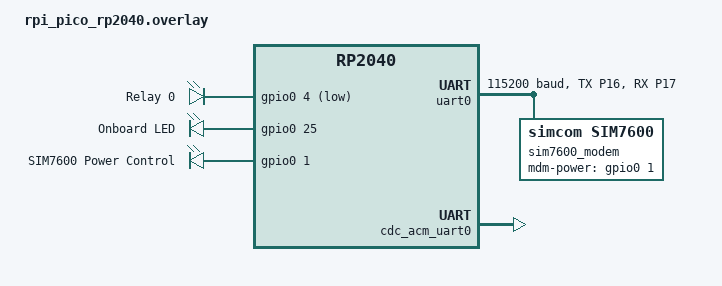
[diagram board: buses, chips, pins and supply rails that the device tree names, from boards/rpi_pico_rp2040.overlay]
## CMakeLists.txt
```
# SPDX-License-Identifier: Apache-2.0

cmake_minimum_required(VERSION 3.20.0)

find_package(Zephyr REQUIRED HINTS $ENV{ZEPHYR_BASE})
project(hello_world)

target_sources(app PRIVATE src/main.c)
target_sources(app PRIVATE drivers/sim7600/modem_cellular_sim7600.c)
```

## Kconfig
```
mainmenu "SIM7600 PPP MQTT demo"

config APP_MQTT_BROKER_HOSTNAME
	string "MQTT broker hostname"
	default "broker.hivemq.com"

config APP_MQTT_BROKER_PORT
	int "MQTT broker port"
	default 1883
	range 1 65535

config APP_MQTT_CLIENT_ID
	string "MQTT client identifier"
	default "pico-sim7600-demo"

config APP_MQTT_TOPIC
	string "MQTT publish topic"
	default "zephyr/pico/sim7600/test"

source "Kconfig.zephyr"
```

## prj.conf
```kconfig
CONFIG_DEBUG_OPTIMIZATIONS=y
CONFIG_DEBUG_THREAD_INFO=y
CONFIG_STACK_USAGE=y
CONFIG_BUILD_OUTPUT_HEX=y
CONFIG_BUILD_OUTPUT_META=y
CONFIG_OUTPUT_SYMBOLS=y
CONFIG_OUTPUT_STAT=y
CONFIG_OUTPUT_DISASSEMBLY=y
CONFIG_OUTPUT_PRINT_MEMORY_USAGE=y

CONFIG_MAIN_STACK_SIZE=4096
# CONFIG_HEAP_MEM_POOL_SIZE=8192

CONFIG_USB_DEVICE_STACK_NEXT=y
CONFIG_CDC_ACM_SERIAL_INITIALIZE_AT_BOOT=y
CONFIG_UART_LINE_CTRL=y
CONFIG_GPIO=y
CONFIG_SERIAL=y
CONFIG_UART_INTERRUPT_DRIVEN=y
CONFIG_UART_USE_RUNTIME_CONFIGURE=y

CONFIG_LOG=y
# CONFIG_LOG_DEFAULT_LEVEL=3

CONFIG_NETWORKING=y
CONFIG_NET_NATIVE=y
CONFIG_NET_IPV4=y
# CONFIG_NET_TCP=y
# CONFIG_NET_SOCKETS=y
# CONFIG_NET_CONTEXT_RCVTIMEO=y
# CONFIG_NET_MGMT=y
# CONFIG_NET_MGMT_EVENT=y
# CONFIG_NET_CONNECTION_MANAGER=y
# CONFIG_DNS_RESOLVER=y

CONFIG_NET_L2_PPP=y
# CONFIG_NET_L2_PPP_OPTION_MRU=y
# CONFIG_NET_L2_PPP_OPTION_DNS_USE=y
# CONFIG_NET_L2_PPP_PAP=y
# CONFIG_NET_L2_PPP_MGMT=y

CONFIG_MODEM=y
CONFIG_PM_DEVICE=y
CONFIG_MODEM_CELLULAR=y
CONFIG_MODEM_CELLULAR_APN="onomondo"

# CONFIG_MQTT_LIB=y
CONFIG_TEST_RANDOM_GENERATOR=y
CONFIG_TIMER_RANDOM_GENERATOR=y

# CONFIG_REBOOT=y
```

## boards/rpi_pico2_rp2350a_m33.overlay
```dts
/*
 * Raspberry Pi Pico 2 can reuse the same app wiring as the Pico board.
 */

#include "rpi_pico_rp2040.overlay"
```

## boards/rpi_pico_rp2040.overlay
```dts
/ {
	chosen {
		zephyr,console = &cdc_acm_uart0;
		zephyr,shell-uart = &cdc_acm_uart0;
	};

	aliases {
		relay = &relay_0;
		led = &relay_1;
		modem = &sim7600_modem;
		modem-uart = &uart0;
		sim7600-power = &sim7600_power;
	};

	relays {
	compatible = "gpio-leds";

	relay_0: relay_0 {
		label = "Relay 0";
		gpios = <&gpio0 4 GPIO_ACTIVE_LOW>;
	};

	relay_1: relay_1 {
		label = "Onboard LED";
		gpios = <&gpio0 25 GPIO_ACTIVE_HIGH>;
	};
	};

	sim7600_power: sim7600_power {
		compatible = "gpio-leds";
		power_ctrl: power_ctrl {
			gpios = <&gpio0 1 GPIO_ACTIVE_HIGH>;
			label = "SIM7600 Power Control";
		};
	};
};

&pinctrl {
	uart0_default: uart0_default {
		group1 {
			pinmux = <UART0_TX_P16>;
		};

		group2 {
			pinmux = <UART0_RX_P17>;
			input-enable;
		};
	};

	uart1_default: uart1_default {
		group1 {
			pinmux = <UART1_TX_P8>;
		};

		group2 {
			pinmux = <UART1_RX_P9>;
			input-enable;
		};
	};
};

&uart0 {
	pinctrl-0 = <&uart0_default>;
	pinctrl-names = "default";
	status = "okay";
	current-speed = <115200>;

	sim7600_modem: modem {
		status = "okay";
		compatible = "simcom,sim7600";
		mdm-power-gpios = <&gpio0 1 GPIO_ACTIVE_HIGH>;
	};
};

&uart1 {
	pinctrl-0 = <&uart1_default>;
	pinctrl-names = "default";
	status = "disabled";
	current-speed = <9600>;
};

&zephyr_udc0 {
	cdc_acm_uart0: cdc_acm_uart0 {
		compatible = "zephyr,cdc-acm-uart";
	};
};
```

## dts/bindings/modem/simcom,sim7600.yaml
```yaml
# Copyright (C) 2025 Olivier Lalonde
# SPDX-License-Identifier: Apache-2.0

description: Simcom SIM7600 modem

compatible: "simcom,sim7600"

include: zephyr,cellular-modem-device.yaml

properties:
  mdm-power-gpios:
    type: phandle-array
    required: true
```

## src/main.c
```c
#include <errno.h>
#include <stdbool.h>
#include <string.h>

#include <zephyr/device.h>
#include <zephyr/drivers/cellular.h>
#include <zephyr/drivers/gpio.h>
#include <zephyr/drivers/uart.h>
#include <zephyr/kernel.h>
#include <zephyr/logging/log.h>
#include <zephyr/pm/device.h>

LOG_MODULE_REGISTER(sim7600_modem_test, LOG_LEVEL_INF);

#define APP_EVENT_MODEM_INFO BIT(0)
#define APP_EVENT_REG_CHANGED BIT(1)

#define MODEM_BOOT_DELAY K_SECONDS(30)
#define MODEM_SETTLE_DELAY K_SECONDS(8)
#define MODEM_POLL_INTERVAL K_SECONDS(10)
#define CONSOLE_READY_TIMEOUT_MS 15000
#define CONSOLE_READY_POLL_MS 100

static const struct device *const modem = DEVICE_DT_GET(DT_ALIAS(modem));
static const struct device *const console_dev = DEVICE_DT_GET(DT_CHOSEN(zephyr_console));
static const struct gpio_dt_spec modem_power_gpio =
	GPIO_DT_SPEC_GET(DT_NODELABEL(power_ctrl), gpios);

K_EVENT_DEFINE(app_events);

static void wait_for_console_ready(void)
{
	uint32_t dtr = 0;
	int64_t deadline;
	int ret;

	if (!device_is_ready(console_dev)) {
		return;
	}

	deadline = k_uptime_get() + CONSOLE_READY_TIMEOUT_MS;

	while (k_uptime_get() < deadline) {
		ret = uart_line_ctrl_get(console_dev, UART_LINE_CTRL_DTR, &dtr);
		if (ret == 0 && dtr != 0U) {
			break;
		}

		k_sleep(K_MSEC(CONSOLE_READY_POLL_MS));
	}

	k_sleep(K_MSEC(250));
}

static const char *registration_status_to_string(enum cellular_registration_status status)
{
	switch (status) {
	case CELLULAR_REGISTRATION_NOT_REGISTERED:
		return "not registered";
	case CELLULAR_REGISTRATION_REGISTERED_HOME:
		return "registered home";
	case CELLULAR_REGISTRATION_SEARCHING:
		return "searching";
	case CELLULAR_REGISTRATION_DENIED:
		return "denied";
	case CELLULAR_REGISTRATION_UNKNOWN:
		return "unknown";
	case CELLULAR_REGISTRATION_REGISTERED_ROAMING:
		return "registered roaming";
	case CELLULAR_REGISTRATION_SMS_ONLY_HOME:
		return "sms only home";
	case CELLULAR_REGISTRATION_SMS_ONLY_ROAMING:
		return "sms only roaming";
	case CELLULAR_REGISTRATION_EMERGENCY_ONLY:
		return "emergency only";
	case CELLULAR_REGISTRATION_CSFB_NOT_PREFERRED_HOME:
		return "csfb not preferred home";
	case CELLULAR_REGISTRATION_CSFB_NOT_PREFERRED_ROAMING:
		return "csfb not preferred roaming";
	case CELLULAR_REGISTRATION_RLOS:
		return "rlos";
	default:
		return "unhandled";
	}
}

static void log_modem_info_field(enum cellular_modem_info_type field, const char *label)
{
	char value[64];
	int ret;

	ret = cellular_get_modem_info(modem, field, value, sizeof(value));
	if (ret == 0) {
		LOG_INF("%s: %s", label, value);
	} else {
		LOG_INF("%s unavailable yet (%d)", label, ret);
	}
}

static void log_signal_info(void)
{
	int16_t rssi;
	int ret;

	ret = cellular_get_signal(modem, CELLULAR_SIGNAL_RSSI, &rssi);
	if (ret == 0) {
		LOG_INF("RSSI: %d dBm", rssi);
	} else {
		LOG_INF("RSSI unavailable yet (%d)", ret);
	}
}

static void log_registration_status(void)
{
	enum cellular_registration_status status;
	int ret;

	ret = cellular_get_registration_status(modem, CELLULAR_ACCESS_TECHNOLOGY_E_UTRAN,
					       &status);
	if (ret == 0) {
		LOG_INF("Registration status: %s (%d)", registration_status_to_string(status), status);
	} else {
		LOG_INF("Registration status unavailable yet (%d)", ret);
	}
}

static void log_modem_snapshot(void)
{
	LOG_INF("----- modem snapshot -----");
	log_signal_info();
	log_registration_status();
	log_modem_info_field(CELLULAR_MODEM_INFO_IMEI, "IMEI");
	log_modem_info_field(CELLULAR_MODEM_INFO_MODEL_ID, "Model");
	log_modem_info_field(CELLULAR_MODEM_INFO_MANUFACTURER, "Manufacturer");
	log_modem_info_field(CELLULAR_MODEM_INFO_SIM_IMSI, "IMSI");
	log_modem_info_field(CELLULAR_MODEM_INFO_SIM_ICCID, "ICCID");
	log_modem_info_field(CELLULAR_MODEM_INFO_FW_VERSION, "FW");
}

static void modem_event_cb(const struct device *dev, enum cellular_event event, const void *payload,
			   void *user_data)
{
	ARG_UNUSED(dev);
	ARG_UNUSED(user_data);

	switch (event) {
	case CELLULAR_EVENT_MODEM_INFO_CHANGED: {
		const struct cellular_evt_modem_info *info = payload;

		if (info != NULL) {
			LOG_INF("Modem info changed, field=%d", info->field);
		} else {
			LOG_INF("Modem info changed");
		}
		k_event_post(&app_events, APP_EVENT_MODEM_INFO);
		break;
	}

	case CELLULAR_EVENT_REGISTRATION_STATUS_CHANGED: {
		const struct cellular_evt_registration_status *reg = payload;

		if (reg != NULL) {
			LOG_INF("Registration changed: %s (%d)",
				registration_status_to_string(reg->status), reg->status);
		} else {
			LOG_INF("Registration changed");
		}
		k_event_post(&app_events, APP_EVENT_REG_CHANGED);
		break;
	}

	case CELLULAR_EVENT_MODEM_COMMS_CHECK_RESULT: {
		const struct cellular_evt_modem_comms_check_result *result = payload;

		if (result != NULL) {
			LOG_INF("Modem comms check: %s", result->success ? "ok" : "failed");
		} else {
			LOG_INF("Modem comms check completed");
		}
		break;
	}

	default:
		break;
	}
}

int main(void)
{
	int64_t power_asserted_ms;
	int64_t resume_ms;
	int ret;

	if (!device_is_ready(modem)) {
		LOG_ERR("Modem device is not ready");
		return -ENODEV;
	}

	if (!gpio_is_ready_dt(&modem_power_gpio)) {
		LOG_ERR("Modem power GPIO is not ready");
		return -ENODEV;
	}

	ret = cellular_set_callback(modem,
				    CELLULAR_EVENT_MODEM_INFO_CHANGED |
					    CELLULAR_EVENT_REGISTRATION_STATUS_CHANGED |
					    CELLULAR_EVENT_MODEM_COMMS_CHECK_RESULT,
				    modem_event_cb, NULL);
	if (ret != 0) {
		LOG_ERR("Failed to register modem callback: %d", ret);
		return ret;
	}

	ret = gpio_pin_configure_dt(&modem_power_gpio, GPIO_OUTPUT_ACTIVE);
	if (ret != 0) {
		LOG_ERR("Failed to assert modem power GPIO: %d", ret);
		return ret;
	}

	power_asserted_ms = k_uptime_get();
	LOG_INF("SIM7600 power asserted at %lld ms, waiting %u ms before resume",
		power_asserted_ms, (uint32_t)k_ticks_to_ms_floor64(MODEM_BOOT_DELAY.ticks));
	k_sleep(MODEM_BOOT_DELAY);
	resume_ms = k_uptime_get();
	LOG_INF("SIM7600 boot wait complete at %lld ms, elapsed %lld ms",
		resume_ms, resume_ms - power_asserted_ms);

	ret = pm_device_action_run(modem, PM_DEVICE_ACTION_RESUME);
	if (ret != 0 && ret != -EALREADY) {
		LOG_ERR("Failed to resume modem: %d", ret);
		return ret;
	}

	wait_for_console_ready();

	LOG_INF("SIM7600 modem bring-up test boot");
	LOG_INF("Resuming SIM7600 modem");
	LOG_INF("Waiting for modem to settle");
	k_sleep(MODEM_SETTLE_DELAY);

	log_modem_snapshot();

	while (true) {
		uint32_t events;

		events = k_event_wait(&app_events, APP_EVENT_MODEM_INFO | APP_EVENT_REG_CHANGED,
				      true, MODEM_POLL_INTERVAL);

		if (events != 0U) {
			LOG_INF("Observed modem event mask: 0x%08x", events);
		}

		log_modem_snapshot();
	}

	return 0;
}
```
